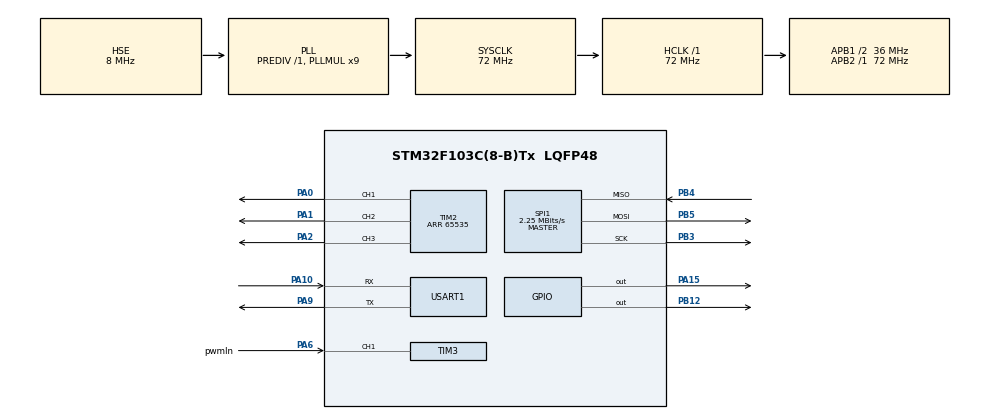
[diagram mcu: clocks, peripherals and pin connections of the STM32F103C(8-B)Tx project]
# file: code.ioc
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FREERTOS.Tasks01=defaultTask,0,128,StartDefaultTask,Default,NULL
Mcu.Family=STM32F1
Mcu.Name=STM32F103C(8-B)Tx
Mcu.Package=LQFP48
NVIC.PriorityGroup=NVIC_PRIORITYGROUP_4
NVIC.TIM4_IRQn=true\:0\:0\:false\:false\:true\:false\:false
NVIC.TimeBase=TIM4_IRQn
NVIC.TimeBaseIP=TIM4
PA0-WKUP.Signal=S_TIM2_CH1_ETR
PA1.Signal=S_TIM2_CH2
PA10.Mode=Asynchronous
PA10.Signal=USART1_RX
PA15.Signal=GPIO_Output
PA2.Signal=S_TIM2_CH3
PA6.GPIO_Label=pwmIn
PA6.Signal=S_TIM3_CH1
PA9.Mode=Asynchronous
PA9.Signal=USART1_TX
PB12.Signal=GPIO_Output
PB3.Mode=Full_Duplex_Master
PB3.Signal=SPI1_SCK
PB4.Mode=Full_Duplex_Master
PB4.Signal=SPI1_MISO
PB5.Mode=Full_Duplex_Master
PB5.Signal=SPI1_MOSI
PD0-OSC_IN.Mode=HSE-External-Oscillator
PD0-OSC_IN.Signal=RCC_OSC_IN
PD1-OSC_OUT.Mode=HSE-External-Oscillator
PD1-OSC_OUT.Signal=RCC_OSC_OUT
ProjectManager.HeapSize=0x200
ProjectManager.StackSize=0x400
ProjectManager.TargetToolchain=Makefile
RCC.AHBFreq_Value=72000000
RCC.APB1CLKDivider=RCC_HCLK_DIV2
RCC.APB1Freq_Value=36000000
RCC.APB1TimFreq_Value=72000000
RCC.APB2Freq_Value=72000000
RCC.APB2TimFreq_Value=72000000
RCC.HCLKFreq_Value=72000000
RCC.PLLMUL=RCC_PLL_MUL9
RCC.PLLSourceVirtual=RCC_PLLSOURCE_HSE
RCC.SYSCLKFreq_VALUE=72000000
RCC.SYSCLKSource=RCC_SYSCLKSOURCE_PLLCLK
RCC.USBFreq_Value=72000000
SH.S_TIM2_CH1_ETR.0=TIM2_CH1,PWM Generation1 CH1
SH.S_TIM2_CH2.0=TIM2_CH2,PWM Generation2 CH2
SH.S_TIM2_CH3.0=TIM2_CH3,PWM Generation3 CH3
SH.S_TIM3_CH1.0=TIM3_CH1,PWM_Input_1
SPI1.BaudRatePrescaler=SPI_BAUDRATEPRESCALER_32
SPI1.CLKPhase=SPI_PHASE_2EDGE
SPI1.CLKPolarity=SPI_POLARITY_HIGH
SPI1.CalculateBaudRate=2.25 MBits/s
SPI1.DataSize=SPI_DATASIZE_16BIT
SPI1.Direction=SPI_DIRECTION_2LINES
SPI1.Mode=SPI_MODE_MASTER
SPI1.VirtualType=VM_MASTER
TIM2.Channel-PWM\ Generation1\ CH1=TIM_CHANNEL_1
TIM2.Channel-PWM\ Generation2\ CH2=TIM_CHANNEL_2
TIM2.Channel-PWM\ Generation3\ CH3=TIM_CHANNEL_3
TIM2.OCMode_PWM-PWM\ Generation1\ CH1=TIM_OCMODE_PWM2
TIM2.OCMode_PWM-PWM\ Generation2\ CH2=TIM_OCMODE_PWM2
TIM2.OCMode_PWM-PWM\ Generation3\ CH3=TIM_OCMODE_PWM2
TIM2.OCPolarity_1=TIM_OCPOLARITY_LOW
TIM2.OCPolarity_2=TIM_OCPOLARITY_LOW
TIM2.OCPolarity_3=TIM_OCPOLARITY_LOW
TIM2.Period=65535
TIM2.Pulse-PWM\ Generation1\ CH1=30000
TIM2.Pulse-PWM\ Generation2\ CH2=1000
TIM2.Pulse-PWM\ Generation3\ CH3=60000
TIM3.Period=65535
USART1.VirtualMode=VM_ASYNC
VP_FREERTOS_VS_ENABLE.Mode=Enabled
VP_SYS_VS_ND.Mode=No_Debug
VP_SYS_VS_tim4.Mode=TIM4
board=code

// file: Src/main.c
/**
  ******************************************************************************
  * @file           : main.c
  * @brief          : Main program body
  ******************************************************************************
  * This notice applies to any and all portions of this file
  * that are not between comment pairs USER CODE BEGIN and
  * USER CODE END. Other portions of this file, whether
  * inserted by the user or by software development tools
  * are owned by their respective copyright owners.
  *
  * Copyright (c) 2018 STMicroelectronics International N.V.
  * All rights reserved.
  *
  * Redistribution and use in source and binary forms, with or without
  * modification, are permitted, provided that the following conditions are met:
  *
  * 1. Redistribution of source code must retain the above copyright notice,
  *    this list of conditions and the following disclaimer.
  * 2. Redistributions in binary form must reproduce the above copyright notice,
  *    this list of conditions and the following disclaimer in the documentation
  *    and/or other materials provided with the distribution.
  * 3. Neither the name of STMicroelectronics nor the names of other
  *    contributors to this software may be used to endorse or promote products
  *    derived from this software without specific written permission.
  * 4. This software, including modifications and/or derivative works of this
  *    software, must execute solely and exclusively on microcontroller or
  *    microprocessor devices manufactured by or for STMicroelectronics.
  * 5. Redistribution and use of this software other than as permitted under
  *    this license is void and will automatically terminate your rights under
  *    this license.
  *
  * THIS SOFTWARE IS PROVIDED BY STMICROELECTRONICS AND CONTRIBUTORS "AS IS"
  * AND ANY EXPRESS, IMPLIED OR STATUTORY WARRANTIES, INCLUDING, BUT NOT
  * LIMITED TO, THE IMPLIED WARRANTIES OF MERCHANTABILITY, FITNESS FOR A
  * PARTICULAR PURPOSE AND NON-INFRINGEMENT OF THIRD PARTY INTELLECTUAL PROPERTY
  * RIGHTS ARE DISCLAIMED TO THE FULLEST EXTENT PERMITTED BY LAW. IN NO EVENT
  * SHALL STMICROELECTRONICS OR CONTRIBUTORS BE LIABLE FOR ANY DIRECT, INDIRECT,
  * INCIDENTAL, SPECIAL, EXEMPLARY, OR CONSEQUENTIAL DAMAGES (INCLUDING, BUT NOT
  * LIMITED TO, PROCUREMENT OF SUBSTITUTE GOODS OR SERVICES; LOSS OF USE, DATA,
  * OR PROFITS; OR BUSINESS INTERRUPTION) HOWEVER CAUSED AND ON ANY THEORY OF
  * LIABILITY, WHETHER IN CONTRACT, STRICT LIABILITY, OR TORT (INCLUDING
  * NEGLIGENCE OR OTHERWISE) ARISING IN ANY WAY OUT OF THE USE OF THIS SOFTWARE,
  * EVEN IF ADVISED OF THE POSSIBILITY OF SUCH DAMAGE.
  *
  ******************************************************************************
  */
#include "main.h"
#include "stm32f1xx_hal.h"
#include "cmsis_os.h"

/* USER CODE BEGIN Includes */
#include "trig.h"
#include "math.h"
/* USER CODE END Includes */

SPI_HandleTypeDef hspi1;

TIM_HandleTypeDef htim2;
TIM_HandleTypeDef htim3;

UART_HandleTypeDef huart1;

osThreadId defaultTaskHandle;

/* USER CODE BEGIN PV */
/* Private variables ---------------------------------------------------------*/

/* USER CODE END PV */

void SystemClock_Config(void);
static void MX_GPIO_Init(void);
static void MX_TIM3_Init(void);
static void MX_SPI1_Init(void);
static void MX_USART1_UART_Init(void);
static void MX_TIM2_Init(void);
void StartDefaultTask(void const * argument);

void HAL_TIM_MspPostInit(TIM_HandleTypeDef *htim);

/* USER CODE BEGIN PFP */
/* Private function prototypes -----------------------------------------------*/

/* USER CODE END PFP */

/* USER CODE BEGIN 0 */
char * debug;
/* USER CODE END 0 */

int main(void)
{

  /* MCU Configuration----------------------------------------------------------*/

  /* Reset of all peripherals, Initializes the Flash interface and the Systick. */
  HAL_Init();

  /* Configure the system clock */
  SystemClock_Config();

  /* Initialize all configured peripherals */
  MX_GPIO_Init();
  MX_TIM3_Init();
  MX_SPI1_Init();
  MX_USART1_UART_Init();
  MX_TIM2_Init();

  /* Create the thread(s) */
  /* definition and creation of defaultTask */
  osThreadDef(defaultTask, StartDefaultTask, osPriorityNormal, 0, 128);
  defaultTaskHandle = osThreadCreate(osThread(defaultTask), NULL);

  /* Start scheduler */
  osKernelStart();

  /* We should never get here as control is now taken by the scheduler */

  /* Infinite loop */
  while (1)
  {

  }

}

void SystemClock_Config(void)
{

  RCC_OscInitTypeDef RCC_OscInitStruct;
  RCC_ClkInitTypeDef RCC_ClkInitStruct;

    /**Initializes the CPU, AHB and APB busses clocks
    */
  RCC_OscInitStruct.OscillatorType = RCC_OSCILLATORTYPE_HSE;
  RCC_OscInitStruct.HSEState = RCC_HSE_ON;
  RCC_OscInitStruct.HSEPredivValue = RCC_HSE_PREDIV_DIV1;
  RCC_OscInitStruct.HSIState = RCC_HSI_ON;
  RCC_OscInitStruct.PLL.PLLState = RCC_PLL_ON;
  RCC_OscInitStruct.PLL.PLLSource = RCC_PLLSOURCE_HSE;
  RCC_OscInitStruct.PLL.PLLMUL = RCC_PLL_MUL9;
  if (HAL_RCC_OscConfig(&RCC_OscInitStruct) != HAL_OK)
  {
    _Error_Handler(__FILE__, __LINE__);
  }

    /**Initializes the CPU, AHB and APB busses clocks
    */
  RCC_ClkInitStruct.ClockType = RCC_CLOCKTYPE_HCLK|RCC_CLOCKTYPE_SYSCLK
                              |RCC_CLOCKTYPE_PCLK1|RCC_CLOCKTYPE_PCLK2;
  RCC_ClkInitStruct.SYSCLKSource = RCC_SYSCLKSOURCE_PLLCLK;
  RCC_ClkInitStruct.AHBCLKDivider = RCC_SYSCLK_DIV1;
  RCC_ClkInitStruct.APB1CLKDivider = RCC_HCLK_DIV2;
  RCC_ClkInitStruct.APB2CLKDivider = RCC_HCLK_DIV1;

  if (HAL_RCC_ClockConfig(&RCC_ClkInitStruct, FLASH_LATENCY_2) != HAL_OK)
  {
    _Error_Handler(__FILE__, __LINE__);
  }

    /**Configure the Systick interrupt time
    */
  HAL_SYSTICK_Config(HAL_RCC_GetHCLKFreq()/1000);

    /**Configure the Systick
    */
  HAL_SYSTICK_CLKSourceConfig(SYSTICK_CLKSOURCE_HCLK);

  /* SysTick_IRQn interrupt configuration */
  HAL_NVIC_SetPriority(SysTick_IRQn, 15, 0);
}

/* SPI1 init function */
static void MX_SPI1_Init(void)
{

  /* SPI1 parameter configuration*/
  hspi1.Instance = SPI1;
  hspi1.Init.Mode = SPI_MODE_MASTER;
  hspi1.Init.Direction = SPI_DIRECTION_2LINES;
  hspi1.Init.DataSize = SPI_DATASIZE_16BIT;
  hspi1.Init.CLKPolarity = SPI_POLARITY_HIGH;
  hspi1.Init.CLKPhase = SPI_PHASE_2EDGE;
  hspi1.Init.NSS = SPI_NSS_SOFT;
  hspi1.Init.BaudRatePrescaler = SPI_BAUDRATEPRESCALER_32;
  hspi1.Init.FirstBit = SPI_FIRSTBIT_MSB;
  hspi1.Init.TIMode = SPI_TIMODE_DISABLE;
  hspi1.Init.CRCCalculation = SPI_CRCCALCULATION_DISABLE;
  hspi1.Init.CRCPolynomial = 10;
  if (HAL_SPI_Init(&hspi1) != HAL_OK)
  {
    _Error_Handler(__FILE__, __LINE__);
  }

}

/* TIM2 init function */
static void MX_TIM2_Init(void)
{

  TIM_MasterConfigTypeDef sMasterConfig;
  TIM_OC_InitTypeDef sConfigOC;

  htim2.Instance = TIM2;
  htim2.Init.Prescaler = 0;
  htim2.Init.CounterMode = TIM_COUNTERMODE_UP;
  htim2.Init.Period = 65535/2;
  htim2.Init.ClockDivision = TIM_CLOCKDIVISION_DIV1;
  htim2.Init.AutoReloadPreload = TIM_AUTORELOAD_PRELOAD_DISABLE;
  if (HAL_TIM_PWM_Init(&htim2) != HAL_OK)
  {
    _Error_Handler(__FILE__, __LINE__);
  }

  sMasterConfig.MasterOutputTrigger = TIM_TRGO_RESET;
  sMasterConfig.MasterSlaveMode = TIM_MASTERSLAVEMODE_DISABLE;
  if (HAL_TIMEx_MasterConfigSynchronization(&htim2, &sMasterConfig) != HAL_OK)
  {
    _Error_Handler(__FILE__, __LINE__);
  }

  sConfigOC.OCMode = TIM_OCMODE_PWM2;
  sConfigOC.Pulse = 30000;
  sConfigOC.OCPolarity = TIM_OCPOLARITY_LOW;
  sConfigOC.OCFastMode = TIM_OCFAST_DISABLE;
  if (HAL_TIM_PWM_ConfigChannel(&htim2, &sConfigOC, TIM_CHANNEL_1) != HAL_OK)
  {
    _Error_Handler(__FILE__, __LINE__);
  }

  sConfigOC.Pulse = 1000;
  if (HAL_TIM_PWM_ConfigChannel(&htim2, &sConfigOC, TIM_CHANNEL_2) != HAL_OK)
  {
    _Error_Handler(__FILE__, __LINE__);
  }

  sConfigOC.Pulse = 60000;
  if (HAL_TIM_PWM_ConfigChannel(&htim2, &sConfigOC, TIM_CHANNEL_3) != HAL_OK)
  {
    _Error_Handler(__FILE__, __LINE__);
  }

  HAL_TIM_MspPostInit(&htim2);

}

/* TIM3 init function */
static void MX_TIM3_Init(void)
{

  TIM_SlaveConfigTypeDef sSlaveConfig;
  TIM_IC_InitTypeDef sConfigIC;
  TIM_MasterConfigTypeDef sMasterConfig;

  htim3.Instance = TIM3;
  htim3.Init.Prescaler = 0;
  htim3.Init.CounterMode = TIM_COUNTERMODE_UP;
  htim3.Init.Period = 65535;
  htim3.Init.ClockDivision = TIM_CLOCKDIVISION_DIV1;
  htim3.Init.AutoReloadPreload = TIM_AUTORELOAD_PRELOAD_DISABLE;
  if (HAL_TIM_IC_Init(&htim3) != HAL_OK)
  {
    _Error_Handler(__FILE__, __LINE__);
  }

  sSlaveConfig.SlaveMode = TIM_SLAVEMODE_RESET;
  sSlaveConfig.InputTrigger = TIM_TS_TI1FP1;
  sSlaveConfig.TriggerPolarity = TIM_INPUTCHANNELPOLARITY_RISING;
  sSlaveConfig.TriggerPrescaler = TIM_ICPSC_DIV1;
  sSlaveConfig.TriggerFilter = 0;
  if (HAL_TIM_SlaveConfigSynchronization(&htim3, &sSlaveConfig) != HAL_OK)
  {
    _Error_Handler(__FILE__, __LINE__);
  }

  sConfigIC.ICPolarity = TIM_INPUTCHANNELPOLARITY_RISING;
  sConfigIC.ICSelection = TIM_ICSELECTION_DIRECTTI;
  sConfigIC.ICPrescaler = TIM_ICPSC_DIV1;
  sConfigIC.ICFilter = 0;
  if (HAL_TIM_IC_ConfigChannel(&htim3, &sConfigIC, TIM_CHANNEL_1) != HAL_OK)
  {
    _Error_Handler(__FILE__, __LINE__);
  }

  sConfigIC.ICPolarity = TIM_INPUTCHANNELPOLARITY_FALLING;
  sConfigIC.ICSelection = TIM_ICSELECTION_INDIRECTTI;
  if (HAL_TIM_IC_ConfigChannel(&htim3, &sConfigIC, TIM_CHANNEL_2) != HAL_OK)
  {
    _Error_Handler(__FILE__, __LINE__);
  }

  sMasterConfig.MasterOutputTrigger = TIM_TRGO_RESET;
  sMasterConfig.MasterSlaveMode = TIM_MASTERSLAVEMODE_DISABLE;
  if (HAL_TIMEx_MasterConfigSynchronization(&htim3, &sMasterConfig) != HAL_OK)
  {
    _Error_Handler(__FILE__, __LINE__);
  }

}

/* USART1 init function */
static void MX_USART1_UART_Init(void)
{

  huart1.Instance = USART1;
  huart1.Init.BaudRate = 115200;
  huart1.Init.WordLength = UART_WORDLENGTH_8B;
  huart1.Init.StopBits = UART_STOPBITS_1;
  huart1.Init.Parity = UART_PARITY_NONE;
  huart1.Init.Mode = UART_MODE_TX_RX;
  huart1.Init.HwFlowCtl = UART_HWCONTROL_NONE;
  huart1.Init.OverSampling = UART_OVERSAMPLING_16;
  if (HAL_UART_Init(&huart1) != HAL_OK)
  {
    _Error_Handler(__FILE__, __LINE__);
  }

}

/** Configure pins as
        * Analog
        * Input
        * Output
        * EVENT_OUT
        * EXTI
*/
static void MX_GPIO_Init(void)
{

  GPIO_InitTypeDef GPIO_InitStruct;

  /* GPIO Ports Clock Enable */
  __HAL_RCC_GPIOD_CLK_ENABLE();
  __HAL_RCC_GPIOA_CLK_ENABLE();
  __HAL_RCC_GPIOB_CLK_ENABLE();

  /*Configure GPIO pin Output Level */
  HAL_GPIO_WritePin(GPIOB, GPIO_PIN_12, GPIO_PIN_RESET);

  /*Configure GPIO pin Output Level */
  HAL_GPIO_WritePin(GPIOA, GPIO_PIN_15, GPIO_PIN_RESET);

  /*Configure GPIO pin : PB12 */
  GPIO_InitStruct.Pin = GPIO_PIN_12;
  GPIO_InitStruct.Mode = GPIO_MODE_OUTPUT_PP;
  GPIO_InitStruct.Speed = GPIO_SPEED_FREQ_LOW;
  HAL_GPIO_Init(GPIOB, &GPIO_InitStruct);

  /*Configure GPIO pin : PA15 */
  GPIO_InitStruct.Pin = GPIO_PIN_15;
  GPIO_InitStruct.Mode = GPIO_MODE_OUTPUT_PP;
  GPIO_InitStruct.Speed = GPIO_SPEED_FREQ_LOW;
  HAL_GPIO_Init(GPIOA, &GPIO_InitStruct);

}

/* USER CODE BEGIN 4 */

//-------------------------------------------------------------------------------------
/** @brief    Set PWM duty cycle for a, b, and c outputs (12 bit inputs)
 *  @details  This function is used to set the duty cycle for each of the
 *            3 pwm output waveforms by setting the timer compare register.
 *            It assumes a 12 bit input, thus bit shift..
 *
 *  @param   a The 12 bit duty cycle for tim2 channel 1 output
 *  @param   b The 12 bit duty cycle for tim2 channel 1 output
 *  @param   c The 12 bit duty cycle for tim2 channel 1 output
 */

inline void pwmOut( uint16_t a, uint16_t b, uint16_t c) {
   /* for some reason, the polarity must be low for the numbers
      to make sense (i.e. bigger == longer high pulse) */
   __HAL_TIM_SET_COMPARE(&htim2, TIM_CHANNEL_1, a << 3 );
   __HAL_TIM_SET_COMPARE(&htim2, TIM_CHANNEL_2, b << 3 );
   __HAL_TIM_SET_COMPARE(&htim2, TIM_CHANNEL_3, c << 3 );
}

//-------------------------------------------------------------------------------------
/** @brief   When called, update the PWM output to keep specified torque (12 bit)
 *  @details This function uses the encoder to calculate the correct phase
 *           to output via PWM to generate a field 90 degrees to the current
 *           location. Then this value is scaled by the ratio of torque/1000
 *  @param   torque Controls how much 'torque' is applied from -1000 to 1000
 */
void setMotorTorque( int16_t torque) {
   uint16_t theta;
   int16_t offset = -1195 - 150; //65536/28;//-1146;

   theta = ( (4095 * 7 * htim3.Instance->CCR2 / 65535) + offset ) % 4096;n
   pwmOut( torque * sinShift03(theta)/1000 + (torque<0 ? 4096: 0),
	   torque * sinShift13(theta)/1000 + (torque<0 ? 4096: 0),
	   torque * sinShift23(theta)/1000 + (torque<0 ? 4096: 0));

   /* At theta = 0, pulse =
      64389 <-- ~zero  (0-1146)
      54784
      45064
      35581
      26081
      16398
      6892

      1/7th of 2^16-1 ~= 9362
      1/7th / 4 (to get 90 degrees ahead) ~= 2341
      2341 - 1146 = 1195  <-- this is ~90 degrees to zero (maybe?)

   */

}

//define addresses (lowest if multiple bytes) (lowest byte in higest addr)

/** @brief 2 bytes Extended Write Address **/
#define EWA 0x02
/** @brief 4 bytes Extended Write Data **/
#define EWD 0x04 //
/** @brief 2 bytes Extended Write Control and Status **/
#define EWCS 0x08 //
/** @brief 2 bytes Extended Read Address **/
#define ERA 0x0A //
/** @brief 2 bytes Extended Read Control and Status **/
#define ERCS 0x0C //
/** @brief 4 bytes Extended Read Data **/
#define ERD 0x0E //

/** @brief Address of the control register  **/
#define CTRL 0x1E //2 bytes
/** @brief address of the Angle register**/
#define ANG 0x20 //2 bytes
/** @brief address of the status register**/
#define STA 0x22 //2 bytes
/** @brief address of the field strength register**/
#define FIELD 0x2A //2 bytes
/** @brief key needed to start running spi encoder**/
#define CDS_KEYCODE 0x46

//-------------------------------------------------------------------------------------
/** @brief   Writes val to the addr via SPI
 *  @details This function sets SS pin low, transmits the 16 bits
 *           (0x4000 | addr << 8 | val) and then releases SS pin.
 *           it returns the data recieved via spi.
 *  @param   addr The address to write to
 *  @param   val The value to put in the address
 *  @return   The data recieved via spi
 */
uint16_t spiWrite(uint8_t addr, uint8_t val) {
   uint16_t num = 0x4000 | addr << 8 | val;
   uint16_t rxData;
   HAL_GPIO_WritePin(GPIOA, GPIO_PIN_15, GPIO_PIN_RESET);
   HAL_SPI_TransmitReceive(&hspi1, & num, &rxData, 1, 0xFF);
   HAL_GPIO_WritePin(GPIOA, GPIO_PIN_15, GPIO_PIN_SET);
   return rxData;
}

//-------------------------------------------------------------------------------------
/** @brief   Reads the value at the given address
 *  @details Transmits the address to read, then transmits again to
 *           get the response. This function then returns the value
 *           recieved via spi
 *  @param   addr The address to read from the spi encoder
 *  @return   The value at the given address
 */
uint16_t spiRead(uint8_t addr) {
   uint16_t num = addr << 8;
   uint16_t pRxData;
   HAL_GPIO_WritePin(GPIOA, GPIO_PIN_15, GPIO_PIN_RESET);
   HAL_SPI_TransmitReceive(&hspi1, & num, &pRxData, 1, 0xFF);
   HAL_GPIO_WritePin(GPIOA, GPIO_PIN_15, GPIO_PIN_SET);

   num = 0;
   HAL_GPIO_WritePin(GPIOA, GPIO_PIN_15, GPIO_PIN_RESET);
   HAL_SPI_TransmitReceive(&hspi1, & num, &pRxData, 1, 0xFF);
   HAL_GPIO_WritePin(GPIOA, GPIO_PIN_15, GPIO_PIN_SET);
   return pRxData;
}

//-------------------------------------------------------------------------------------
/** @brief   Calculate the torque to return motor to setpoint (using simple P controller)
 *  @details This functions returns the torque calculated by a simple P controller
 *           that attempts to keep a constant setpoint. The output is not linear with
 *           positon, but instead has an adjustment to increase low end values to make
 *           sure the motor has enough torque at the low end to reach the target.
 *  @param   setpoint The position that the motor tries to maintain (16 bit number)
 *  @return  The new torque value that should be sent to the motor from -1000 to 1000
 */
int16_t getNewTorque(int16_t setpoint){
   int32_t out = (htim3.Instance->CCR2 -setpoint +65536/2) % 65536 -65536/2;
   out = out >> 4;		/* bit shift to get scalling right */

   /* Adjusting the respones of our motor so that there is more torque on the low end*/
   out = 32*sqrt(abs(out)) * out /abs(out) ;

   /* constrain output to valid numbers */
    if(out>1000){
        out = 1000;
    }
    if(out<-1000){
        out = -1000;
    }

    return out;
}

/* USER CODE END 4 */

//-------------------------------------------------------------------------------------
/** @brief   Task that sets up the pins, timers, etc. and run basic constant torque example
 *  @details This task configures the gpio to blink an led, enables interrupts for
 *           pwm input, starts the 3 pwm output channels, configures the spi encoder.
 *           Then, this task loops, blinking the led, updating torque, and printing
 *           the current angle of the motor via uart.
 *  @param   argument Not used, but kept for rtos
 */
void StartDefaultTask(void const * argument)
{

  /* USER CODE BEGIN 5 */

   GPIO_InitTypeDef GPIO_InitStructure;

   GPIO_InitStructure.Pin = GPIO_PIN_12;

   GPIO_InitStructure.Mode = GPIO_MODE_OUTPUT_PP;
   GPIO_InitStructure.Speed = GPIO_SPEED_FREQ_HIGH;
   //GPIO_InitStructure.Pull = GPIO_NOPULL;
   HAL_GPIO_Init(GPIOB, &GPIO_InitStructure);

   debug = "none";

   //Enable interrupt
   HAL_TIM_IC_Start_IT(&htim3, TIM_CHANNEL_2);
   HAL_TIM_IC_Start(&htim3, TIM_CHANNEL_1);

   HAL_TIM_PWM_Start(&htim2, TIM_CHANNEL_1);
   HAL_TIM_PWM_Start(&htim2, TIM_CHANNEL_2);
   HAL_TIM_PWM_Start(&htim2, TIM_CHANNEL_3);

   setMotorTorque(0);
   HAL_GPIO_WritePin(GPIOB, GPIO_PIN_12, GPIO_PIN_SET);
   osDelay(100);

   spiWrite(CTRL, 0xC0);
   spiWrite(CTRL, 0xC0);
   spiWrite(CTRL+1, CDS_KEYCODE);
   spiRead(ANG);

   uint32_t count=0;
   uint32_t loop=0;
  /* Infinite loop */
  for(;;)
  {
     /* if(count % 50 == 0) { */
     /* 	osDelay(1); */
     /* } */
    if ( count == 2000) {
       HAL_GPIO_WritePin(GPIOB, GPIO_PIN_12, GPIO_PIN_SET);
    }
    if (count == 4095) {
       HAL_GPIO_WritePin(GPIOB, GPIO_PIN_12, GPIO_PIN_RESET);
       count=0;

       /* loop++; */

       /* if(loop == 300) { */
       /* 	  setMotorTorque( -250); */
       /* } */
       /* if(loop == 600) { */
       /* 	  setMotorTorque( 250); */
       /* 	  loop=0; */
       // }
       char buffer[100];
       sprintf(buffer, "Angle: %d\n", spiRead(ANG));
       HAL_UART_Transmit(&huart1, buffer ,strlen(buffer) , HAL_MAX_DELAY);

    }
    count++;

    /* setMotorTorque(getNewTorque(10000)); */
    setMotorTorque(1000);

  }
  /* USER CODE END 5 */
}

void HAL_TIM_PeriodElapsedCallback(TIM_HandleTypeDef *htim)
{
  if (htim->Instance == TIM4) {
    HAL_IncTick();
  }
}

void _Error_Handler(char *file, int line)
{
  while(1)
  {
  }
}

/************************ (C) COPYRIGHT STMicroelectronics *****END OF FILE****/
